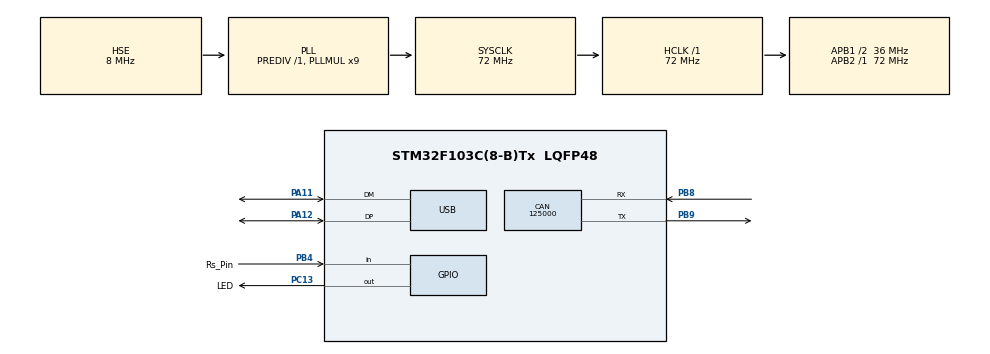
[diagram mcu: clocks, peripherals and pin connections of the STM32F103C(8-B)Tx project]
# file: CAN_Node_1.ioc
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CAN.BS1=CAN_BS1_13TQ
CAN.BS2=CAN_BS2_4TQ
CAN.CalculateBaudRate=125000
CAN.CalculateTimeBit=8000
CAN.CalculateTimeQuantum=444.44444444444446
CAN.Mode=CAN_MODE_LOOPBACK
CAN.NART=ENABLE
Mcu.Family=STM32F1
Mcu.Name=STM32F103C(8-B)Tx
Mcu.Package=LQFP48
NVIC.PriorityGroup=NVIC_PRIORITYGROUP_4
NVIC.USB_HP_CAN1_TX_IRQn=true\:0\:0\:false\:false\:true\:true\:true\:true
NVIC.USB_LP_CAN1_RX0_IRQn=true\:0\:0\:false\:false\:true\:true\:true\:true
PA11.Mode=Device
PA11.Signal=USB_DM
PA12.Mode=Device
PA12.Signal=USB_DP
PA13.Mode=Serial_Wire
PA13.Signal=SYS_JTMS-SWDIO
PA14.Mode=Serial_Wire
PA14.Signal=SYS_JTCK-SWCLK
PB4.GPIO_Label=Rs_Pin
PB4.GPIO_PuPd=GPIO_PULLDOWN
PB4.Signal=GPIO_Input
PB8.Mode=CAN_Activate
PB8.Signal=CAN_RX
PB9.Mode=CAN_Activate
PB9.Signal=CAN_TX
PC13-TAMPER-RTC.GPIO_Label=LED
PC13-TAMPER-RTC.Signal=GPIO_Output
PC14-OSC32_IN.Mode=LSE-External-Clock-Source
PC14-OSC32_IN.Signal=RCC_OSC32_IN
PC15-OSC32_OUT.Mode=LSE-External-Clock-Source
PC15-OSC32_OUT.Signal=RCC_OSC32_OUT
PD0-OSC_IN.Mode=HSE-External-Oscillator
PD0-OSC_IN.Signal=RCC_OSC_IN
PD1-OSC_OUT.Mode=HSE-External-Oscillator
PD1-OSC_OUT.Signal=RCC_OSC_OUT
ProjectManager.HeapSize=0x200
ProjectManager.StackSize=0x400
ProjectManager.TargetToolchain=STM32CubeIDE
RCC.AHBFreq_Value=72000000
RCC.APB1CLKDivider=RCC_HCLK_DIV2
RCC.APB1Freq_Value=36000000
RCC.APB1TimFreq_Value=72000000
RCC.APB2Freq_Value=72000000
RCC.APB2TimFreq_Value=72000000
RCC.HCLKFreq_Value=72000000
RCC.PLLMUL=RCC_PLL_MUL9
RCC.PLLSourceVirtual=RCC_PLLSOURCE_HSE
RCC.SYSCLKFreq_VALUE=72000000
RCC.SYSCLKSource=RCC_SYSCLKSOURCE_PLLCLK
RCC.USBFreq_Value=48000000
RCC.USBPrescaler=RCC_USBCLKSOURCE_PLL_DIV1_5
USB_DEVICE.CLASS_NAME_FS=CDC
USB_DEVICE.VirtualMode=Cdc
USB_DEVICE.VirtualModeFS=Cdc_FS
VP_USB_DEVICE_VS_USB_DEVICE_CDC_FS.Mode=CDC_FS
board=custom

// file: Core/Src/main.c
/* USER CODE BEGIN Header */
/**
  ******************************************************************************
  * @file           : main.c
  * @brief          : Main program body
  ******************************************************************************
  * @attention
  *
  * Copyright (c) 2025 STMicroelectronics.
  * All rights reserved.
  *
  * This software is licensed under terms that can be found in the LICENSE file
  * in the root directory of this software component.
  * If no LICENSE file comes with this software, it is provided AS-IS.
  *
  ******************************************************************************
  */
/* USER CODE END Header */
#include "main.h"
#include "usb_device.h"

/* USER CODE BEGIN Includes */
#include "usbd_cdc_if.h"
#include "string.h"
/* USER CODE END Includes */

CAN_HandleTypeDef hcan;

/* USER CODE BEGIN PV */
CAN_TxHeaderTypeDef TxHeader;
CAN_RxHeaderTypeDef RxHeader;

uint8_t usbTransmitBuffer[32] = "Mesaj geldi\n";

uint32_t TxMailbox;
uint8_t testData[2] = {2,3};
uint8_t testRx[2] = {0};
uint8_t flag = 0;
/* USER CODE END PV */

void SystemClock_Config(void);
static void MX_GPIO_Init(void);
static void MX_CAN_Init(void);

int main(void)
{

  /* MCU Configuration--------------------------------------------------------*/

  /* Reset of all peripherals, Initializes the Flash interface and the Systick. */
  HAL_Init();

  /* Configure the system clock */
  SystemClock_Config();

  /* Initialize all configured peripherals */
  MX_GPIO_Init();
  MX_CAN_Init();
  MX_USB_DEVICE_Init();
  /* USER CODE BEGIN 2 */

  TxHeader.DLC=2;
  TxHeader.IDE = CAN_ID_STD;
  TxHeader.RTR = CAN_RTR_DATA;
  TxHeader.StdId = 64;

  HAL_CAN_Start(&hcan);
  HAL_CAN_ActivateNotification(&hcan, CAN_IT_RX_FIFO0_MSG_PENDING);

  HAL_GPIO_WritePin(GPIOC, GPIO_PIN_13, 1);
  /* USER CODE END 2 */

  /* Infinite loop */
  while (1)
  {

    /* USER CODE BEGIN 3 */
	  if (HAL_CAN_GetTxMailboxesFreeLevel(&hcan) > 0)  // Check if mailbox is free
	      {
	          HAL_CAN_AddTxMessage(&hcan, &TxHeader, testData, &TxMailbox);
	      }

	  // If a message is received (set by callback), turn LED ON
	  if (flag == 1)
	  {
		  HAL_GPIO_WritePin(GPIOC, GPIO_PIN_13, GPIO_PIN_RESET); // LED ON
	  }
	  else
	  {
		  HAL_GPIO_TogglePin(GPIOC, GPIO_PIN_13); // Blink LED until message received
	  }

	  if (CDC_Transmit_FS(usbTransmitBuffer, strlen((char*)usbTransmitBuffer)) == USBD_OK)
	  {
	      // Başarılı gönderim
	  }
	  else{
		  //HAL_GPIO_WritePin(GPIOC, GPIO_PIN_13, GPIO_PIN_SET);
	  }
	  HAL_Delay(500);

	  HAL_Delay(500);
  }
  /* USER CODE END 3 */
}

void SystemClock_Config(void)
{
  RCC_OscInitTypeDef RCC_OscInitStruct = {0};
  RCC_ClkInitTypeDef RCC_ClkInitStruct = {0};
  RCC_PeriphCLKInitTypeDef PeriphClkInit = {0};

  /** Initializes the RCC Oscillators according to the specified parameters
  * in the RCC_OscInitTypeDef structure.
  */
  RCC_OscInitStruct.OscillatorType = RCC_OSCILLATORTYPE_HSE;
  RCC_OscInitStruct.HSEState = RCC_HSE_ON;
  RCC_OscInitStruct.HSEPredivValue = RCC_HSE_PREDIV_DIV1;
  RCC_OscInitStruct.HSIState = RCC_HSI_ON;
  RCC_OscInitStruct.PLL.PLLState = RCC_PLL_ON;
  RCC_OscInitStruct.PLL.PLLSource = RCC_PLLSOURCE_HSE;
  RCC_OscInitStruct.PLL.PLLMUL = RCC_PLL_MUL9;
  if (HAL_RCC_OscConfig(&RCC_OscInitStruct) != HAL_OK)
  {
    Error_Handler();
  }

  /** Initializes the CPU, AHB and APB buses clocks
  */
  RCC_ClkInitStruct.ClockType = RCC_CLOCKTYPE_HCLK|RCC_CLOCKTYPE_SYSCLK
                              |RCC_CLOCKTYPE_PCLK1|RCC_CLOCKTYPE_PCLK2;
  RCC_ClkInitStruct.SYSCLKSource = RCC_SYSCLKSOURCE_PLLCLK;
  RCC_ClkInitStruct.AHBCLKDivider = RCC_SYSCLK_DIV1;
  RCC_ClkInitStruct.APB1CLKDivider = RCC_HCLK_DIV2;
  RCC_ClkInitStruct.APB2CLKDivider = RCC_HCLK_DIV1;

  if (HAL_RCC_ClockConfig(&RCC_ClkInitStruct, FLASH_LATENCY_2) != HAL_OK)
  {
    Error_Handler();
  }
  PeriphClkInit.PeriphClockSelection = RCC_PERIPHCLK_USB;
  PeriphClkInit.UsbClockSelection = RCC_USBCLKSOURCE_PLL_DIV1_5;
  if (HAL_RCCEx_PeriphCLKConfig(&PeriphClkInit) != HAL_OK)
  {
    Error_Handler();
  }
}

static void MX_CAN_Init(void)
{

  hcan.Instance = CAN1;
  hcan.Init.Prescaler = 16;
  hcan.Init.Mode = CAN_MODE_LOOPBACK;
  hcan.Init.SyncJumpWidth = CAN_SJW_1TQ;
  hcan.Init.TimeSeg1 = CAN_BS1_13TQ;
  hcan.Init.TimeSeg2 = CAN_BS2_4TQ;
  hcan.Init.TimeTriggeredMode = DISABLE;
  hcan.Init.AutoBusOff = DISABLE;
  hcan.Init.AutoWakeUp = DISABLE;
  hcan.Init.AutoRetransmission = ENABLE;
  hcan.Init.ReceiveFifoLocked = DISABLE;
  hcan.Init.TransmitFifoPriority = DISABLE;
  if (HAL_CAN_Init(&hcan) != HAL_OK)
  {
    Error_Handler();
  }
  /* USER CODE BEGIN CAN_Init 2 */
  CAN_FilterTypeDef sFilterConfig;
  sFilterConfig.FilterBank = 0;
  sFilterConfig.FilterMode = CAN_FILTERMODE_IDMASK;
  sFilterConfig.FilterScale = CAN_FILTERSCALE_32BIT;
  sFilterConfig.FilterIdHigh = 0x0000;
  sFilterConfig.FilterIdLow = 0x0000;
  sFilterConfig.FilterMaskIdHigh = 0x0000;
  sFilterConfig.FilterMaskIdLow = 0x0000;
  sFilterConfig.FilterFIFOAssignment = CAN_RX_FIFO0;
  sFilterConfig.FilterActivation = ENABLE;
  sFilterConfig.SlaveStartFilterBank = 14;
  HAL_CAN_ConfigFilter(&hcan, &sFilterConfig);

  /* USER CODE END CAN_Init 2 */

}

static void MX_GPIO_Init(void)
{
  GPIO_InitTypeDef GPIO_InitStruct = {0};

  /* GPIO Ports Clock Enable */
  __HAL_RCC_GPIOC_CLK_ENABLE();
  __HAL_RCC_GPIOD_CLK_ENABLE();
  __HAL_RCC_GPIOA_CLK_ENABLE();
  __HAL_RCC_GPIOB_CLK_ENABLE();

  /*Configure GPIO pin Output Level */
  HAL_GPIO_WritePin(LED_GPIO_Port, LED_Pin, GPIO_PIN_RESET);

  /*Configure GPIO pin : LED_Pin */
  GPIO_InitStruct.Pin = LED_Pin;
  GPIO_InitStruct.Mode = GPIO_MODE_OUTPUT_PP;
  GPIO_InitStruct.Pull = GPIO_NOPULL;
  GPIO_InitStruct.Speed = GPIO_SPEED_FREQ_LOW;
  HAL_GPIO_Init(LED_GPIO_Port, &GPIO_InitStruct);

  /*Configure GPIO pin : Rs_Pin_Pin */
  GPIO_InitStruct.Pin = Rs_Pin_Pin;
  GPIO_InitStruct.Mode = GPIO_MODE_INPUT;
  GPIO_InitStruct.Pull = GPIO_PULLDOWN;
  HAL_GPIO_Init(Rs_Pin_GPIO_Port, &GPIO_InitStruct);

}

/* USER CODE BEGIN 4 */
void HAL_CAN_RxFifo0MsgPendingCallback(CAN_HandleTypeDef *hcan)
{
    HAL_CAN_GetRxMessage(hcan, CAN_RX_FIFO0, &RxHeader, testRx);

    //if (testRx[0] == 2 && testRx[1] == 3)
    //{
        flag = 1;
    //}
}
/* USER CODE END 4 */

void Error_Handler(void)
{
  __disable_irq();
  while (1)
  {
  }
}
